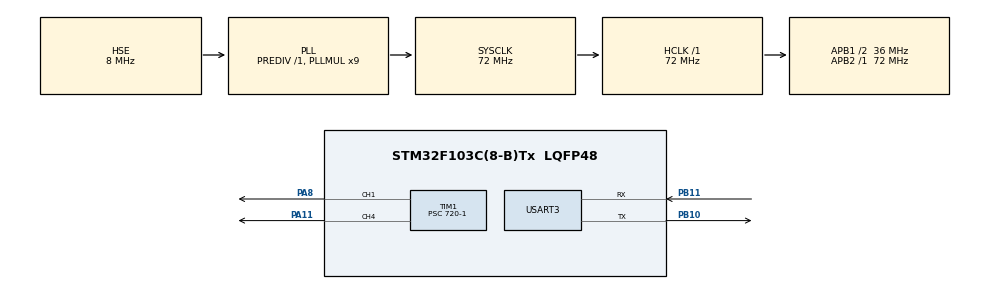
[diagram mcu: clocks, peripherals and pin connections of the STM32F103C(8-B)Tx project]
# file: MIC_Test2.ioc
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Dma.Request0=USART3_RX
Dma.Request1=USART3_TX
Dma.USART3_RX.0.Direction=DMA_PERIPH_TO_MEMORY
Dma.USART3_RX.0.Instance=DMA1_Channel3
Dma.USART3_RX.0.MemDataAlignment=DMA_MDATAALIGN_BYTE
Dma.USART3_RX.0.MemInc=DMA_MINC_ENABLE
Dma.USART3_RX.0.Mode=DMA_NORMAL
Dma.USART3_RX.0.PeriphDataAlignment=DMA_PDATAALIGN_BYTE
Dma.USART3_RX.0.PeriphInc=DMA_PINC_DISABLE
Dma.USART3_RX.0.Priority=DMA_PRIORITY_LOW
Dma.USART3_TX.1.Direction=DMA_MEMORY_TO_PERIPH
Dma.USART3_TX.1.Instance=DMA1_Channel2
Dma.USART3_TX.1.MemDataAlignment=DMA_MDATAALIGN_BYTE
Dma.USART3_TX.1.MemInc=DMA_MINC_ENABLE
Dma.USART3_TX.1.Mode=DMA_NORMAL
Dma.USART3_TX.1.PeriphDataAlignment=DMA_PDATAALIGN_BYTE
Dma.USART3_TX.1.PeriphInc=DMA_PINC_DISABLE
Dma.USART3_TX.1.Priority=DMA_PRIORITY_LOW
Mcu.Family=STM32F1
Mcu.Name=STM32F103C(8-B)Tx
Mcu.Package=LQFP48
NVIC.DMA1_Channel2_IRQn=true\:0\:0\:false\:false\:true\:true\:true\:true
NVIC.DMA1_Channel3_IRQn=true\:0\:0\:false\:false\:true\:true\:true\:true
NVIC.PriorityGroup=NVIC_PRIORITYGROUP_4
NVIC.USART3_IRQn=true\:0\:0\:false\:false\:true\:true\:true\:true
PA11.Signal=S_TIM1_CH4
PA13.Mode=Serial_Wire
PA13.Signal=SYS_JTMS-SWDIO
PA14.Mode=Serial_Wire
PA14.Signal=SYS_JTCK-SWCLK
PA8.Signal=S_TIM1_CH1
PB10.Mode=Asynchronous
PB10.Signal=USART3_TX
PB11.Mode=Asynchronous
PB11.Signal=USART3_RX
PD0-OSC_IN.Mode=HSE-External-Oscillator
PD0-OSC_IN.Signal=RCC_OSC_IN
PD1-OSC_OUT.Mode=HSE-External-Oscillator
PD1-OSC_OUT.Signal=RCC_OSC_OUT
ProjectManager.HeapSize=0x200
ProjectManager.StackSize=0x400
ProjectManager.TargetToolchain=MDK-ARM V5.32
RCC.AHBFreq_Value=72000000
RCC.APB1CLKDivider=RCC_HCLK_DIV2
RCC.APB1Freq_Value=36000000
RCC.APB1TimFreq_Value=72000000
RCC.APB2Freq_Value=72000000
RCC.APB2TimFreq_Value=72000000
RCC.HCLKFreq_Value=72000000
RCC.PLLMUL=RCC_PLL_MUL9
RCC.PLLSourceVirtual=RCC_PLLSOURCE_HSE
RCC.SYSCLKFreq_VALUE=72000000
RCC.SYSCLKSource=RCC_SYSCLKSOURCE_PLLCLK
RCC.USBFreq_Value=72000000
SH.S_TIM1_CH1.0=TIM1_CH1,PWM Generation1 CH1
SH.S_TIM1_CH4.0=TIM1_CH4,PWM Generation4 CH4
TIM1.Channel-PWM\ Generation1\ CH1=TIM_CHANNEL_1
TIM1.Channel-PWM\ Generation4\ CH4=TIM_CHANNEL_4
TIM1.Period=2000-1
TIM1.Prescaler=720-1
USART3.VirtualMode=VM_ASYNC
VP_TIM1_VS_ClockSourceINT.Mode=Internal
board=custom

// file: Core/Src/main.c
/* USER CODE BEGIN Header */
/**
  ******************************************************************************
  * @file           : main.c
  * @brief          : Main program body
  ******************************************************************************
  * @attention
  *
  * Copyright (c) 2024 STMicroelectronics.
  * All rights reserved.
  *
  * This software is licensed under terms that can be found in the LICENSE file
  * in the root directory of this software component.
  * If no LICENSE file comes with this software, it is provided AS-IS.
  *
  ******************************************************************************
  */
/* USER CODE END Header */
#include "main.h"
#include "dma.h"
#include "tim.h"
#include "usart.h"
#include "gpio.h"

/* USER CODE BEGIN Includes */
#include <stdint.h>

/* USER CODE END Includes */

void SystemClock_Config(void);

/* USER CODE BEGIN 0 */
uint8_t Test_Data[20];

uint8_t ROS_ReceiveData[4];

struct SS{
  float Vx;
  float Vy;
  float Vz;
}Raw_Speed;

int8_t ROS_DataAnalysis(){
  if(ROS_ReceiveData[0] != 0xA5 || ROS_ReceiveData[3] != 0x5A){
    return 0;
  }

  Raw_Speed.Vx = ROS_ReceiveData[1];
  Raw_Speed.Vz = ROS_ReceiveData[2];

  //Move_Transfrom(Raw_Speed.Vx,Raw_Speed.Vz);

  return 1;
}

void HAL_UARTEx_RxEventCallback(UART_HandleTypeDef *huart, uint16_t Size){
  if(huart == &huart3){

  }

}

uint8_t flag = 0;
uint8_t Tick = 0;

void HAL_IncTick(void)
{

  uwTick += uwTickFreq;
  Tick++;

  if (Tick >= 1 && flag == 1)
  {
    Tick = 0;
		flag = 0;
		HAL_UART_Receive_DMA(&huart3, Test_Data, 5);
  }
}

void HAL_UART_RxCpltCallback(UART_HandleTypeDef *huart){
  if(huart == &huart3){

    if(Test_Data[0] != 0xA5 || Test_Data[4] == 0x5A){
			flag = 1;
		}
		else{
			//����
			flag = 0;
			HAL_UART_Receive_DMA(&huart3, Test_Data, 5);
		}
  }

}
/* USER CODE END 0 */

int main(void)
{

  /* MCU Configuration--------------------------------------------------------*/

  /* Reset of all peripherals, Initializes the Flash interface and the Systick. */
  HAL_Init();

  /* Configure the system clock */
  SystemClock_Config();

  /* Initialize all configured peripherals */
  MX_GPIO_Init();
  MX_DMA_Init();
  MX_USART3_UART_Init();
  MX_TIM1_Init();

  /* Infinite loop */
  /* USER CODE BEGIN WHILE */
	//ROS_DataAnalysis();
	//HAL_UART_Receive_DMA(&huart3, ROS_ReceiveData, 4);
	//HAL_UARTEx_ReceiveToIdle_DMA(&huart3,Test_Data,15);
  HAL_UART_Receive_DMA(&huart3, Test_Data, 5);
  while (1)
  {

    /* USER CODE END WHILE */

  }
}

void SystemClock_Config(void)
{
  RCC_OscInitTypeDef RCC_OscInitStruct = {0};
  RCC_ClkInitTypeDef RCC_ClkInitStruct = {0};

  /** Initializes the RCC Oscillators according to the specified parameters
  * in the RCC_OscInitTypeDef structure.
  */
  RCC_OscInitStruct.OscillatorType = RCC_OSCILLATORTYPE_HSE;
  RCC_OscInitStruct.HSEState = RCC_HSE_ON;
  RCC_OscInitStruct.HSEPredivValue = RCC_HSE_PREDIV_DIV1;
  RCC_OscInitStruct.HSIState = RCC_HSI_ON;
  RCC_OscInitStruct.PLL.PLLState = RCC_PLL_ON;
  RCC_OscInitStruct.PLL.PLLSource = RCC_PLLSOURCE_HSE;
  RCC_OscInitStruct.PLL.PLLMUL = RCC_PLL_MUL9;
  if (HAL_RCC_OscConfig(&RCC_OscInitStruct) != HAL_OK)
  {
    Error_Handler();
  }

  /** Initializes the CPU, AHB and APB buses clocks
  */
  RCC_ClkInitStruct.ClockType = RCC_CLOCKTYPE_HCLK|RCC_CLOCKTYPE_SYSCLK
                              |RCC_CLOCKTYPE_PCLK1|RCC_CLOCKTYPE_PCLK2;
  RCC_ClkInitStruct.SYSCLKSource = RCC_SYSCLKSOURCE_PLLCLK;
  RCC_ClkInitStruct.AHBCLKDivider = RCC_SYSCLK_DIV1;
  RCC_ClkInitStruct.APB1CLKDivider = RCC_HCLK_DIV2;
  RCC_ClkInitStruct.APB2CLKDivider = RCC_HCLK_DIV1;

  if (HAL_RCC_ClockConfig(&RCC_ClkInitStruct, FLASH_LATENCY_2) != HAL_OK)
  {
    Error_Handler();
  }
}

void Error_Handler(void)
{
  __disable_irq();
  while (1)
  {
  }
}
